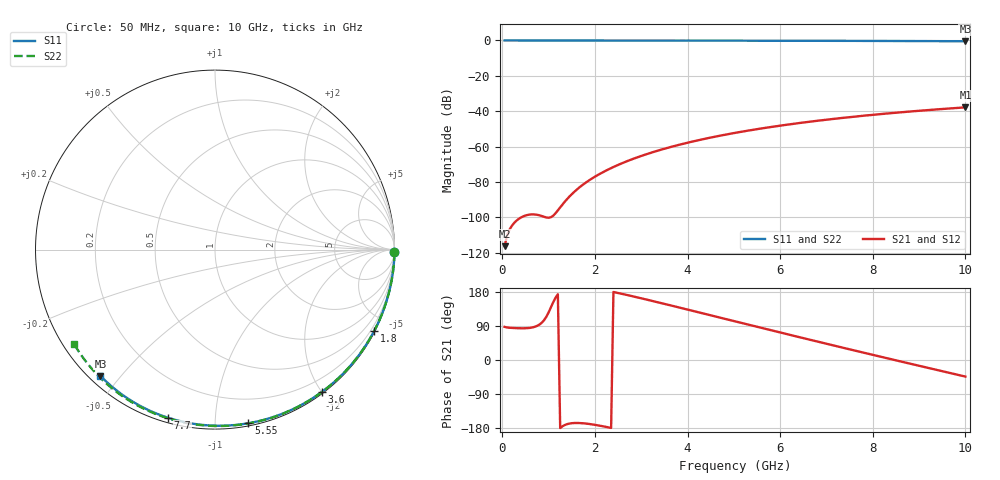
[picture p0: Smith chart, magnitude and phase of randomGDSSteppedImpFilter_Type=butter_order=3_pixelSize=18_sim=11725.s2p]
! freq	dB(S11)	phase(S11)	dB(S12)	phase(S12)
!  dB(S21)	phase(S21)	dB(S22)	phase(S22)
!S-par simulation data
#  GHz  S  DB  R 50
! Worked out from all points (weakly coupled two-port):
!   200 points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, 50 MHz to 10 GHz, reference 50 ohm
!   highest |S21| = -37.84 dB at 10 GHz (marker M1); lowest = -116.3 dB at 50 MHz (marker M2)
!   lowest |S11| = -0.4 dB at 10 GHz (marker M3), VSWR 38.92, Z = 1.54 - j22.1 ohm
!   |S11| at or under -10 dB: nowhere
!   |S22| runs from -0.5 to 0.0 dB; largest |S21 - S12| = 0
!   S11 on the Smith chart (normalised r, x): 50 MHz: open; 1.8 GHz: 0.04, -4.15; 3.6 GHz: 0.02, -2.01; 5.55 GHz: 0.02, -1.21; 7.7 GHz: 0.02, -0.76; 10 GHz: 0.03, -0.44
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0.05  -0.00 -0.8  -116.34 87.4  -116.34 87.4  -0.00 -0.9
0.45  -0.01 -6.9  -99.50 83.6  -99.50 83.6  -0.01 -7.7
0.9  -0.02 -13.7  -99.71 104.8  -99.71 104.8  -0.02 -15.2
1.3  -0.02 -19.7  -92.74 -174.9  -92.74 -174.9  -0.03 -21.9
1.75  -0.03 -26.4  -81.38 -167.1  -81.38 -167.1  -0.04 -29.3
1.8  -0.03 -27.1  -80.43 -167.7  -80.43 -167.7  -0.04 -30.1
1.85  -0.04 -27.8  -79.53 -168.4  -79.53 -168.4  -0.04 -31.0
2.05  -0.04 -30.8  -76.27 -172.1  -76.27 -172.1  -0.04 -34.2
2.2  -0.04 -33.0  -74.13 -175.5  -74.13 -175.5  -0.05 -36.7
2.55  -0.05 -38.1  -69.83 175.5  -69.83 175.5  -0.05 -42.3
2.95  -0.06 -43.8  -65.78 164.3  -65.78 164.3  -0.06 -48.6
3.4  -0.07 -50.2  -61.99 151.1  -61.99 151.1  -0.07 -55.7
3.6  -0.07 -53.0  -60.51 145.1  -60.51 145.1  -0.08 -58.8
4.3  -0.09 -62.6  -56.03 124.0  -56.03 124.0  -0.10 -69.3
5.05  -0.11 -72.6  -52.15 101.3  -52.15 101.3  -0.12 -80.3
5.55  -0.13 -79.1  -49.95 86.2  -49.95 86.2  -0.14 -87.5
6.1  -0.15 -86.1  -47.81 69.6  -47.81 69.6  -0.17 -95.1
6.7  -0.18 -93.6  -45.75 51.7  -45.75 51.7  -0.20 -103.3
7.7  -0.24 -105.7  -42.83 22.3  -42.83 22.3  -0.27 -116.6
8.35  -0.29 -113.3  -41.21 3.4  -41.21 3.4  -0.32 -125.0
9.2  -0.36 -123.1  -39.35 -21.0  -39.35 -21.0  -0.40 -136.0
10  -0.45 -132.2  -37.84 -43.8  -37.84 -43.8  -0.49 -146.2
